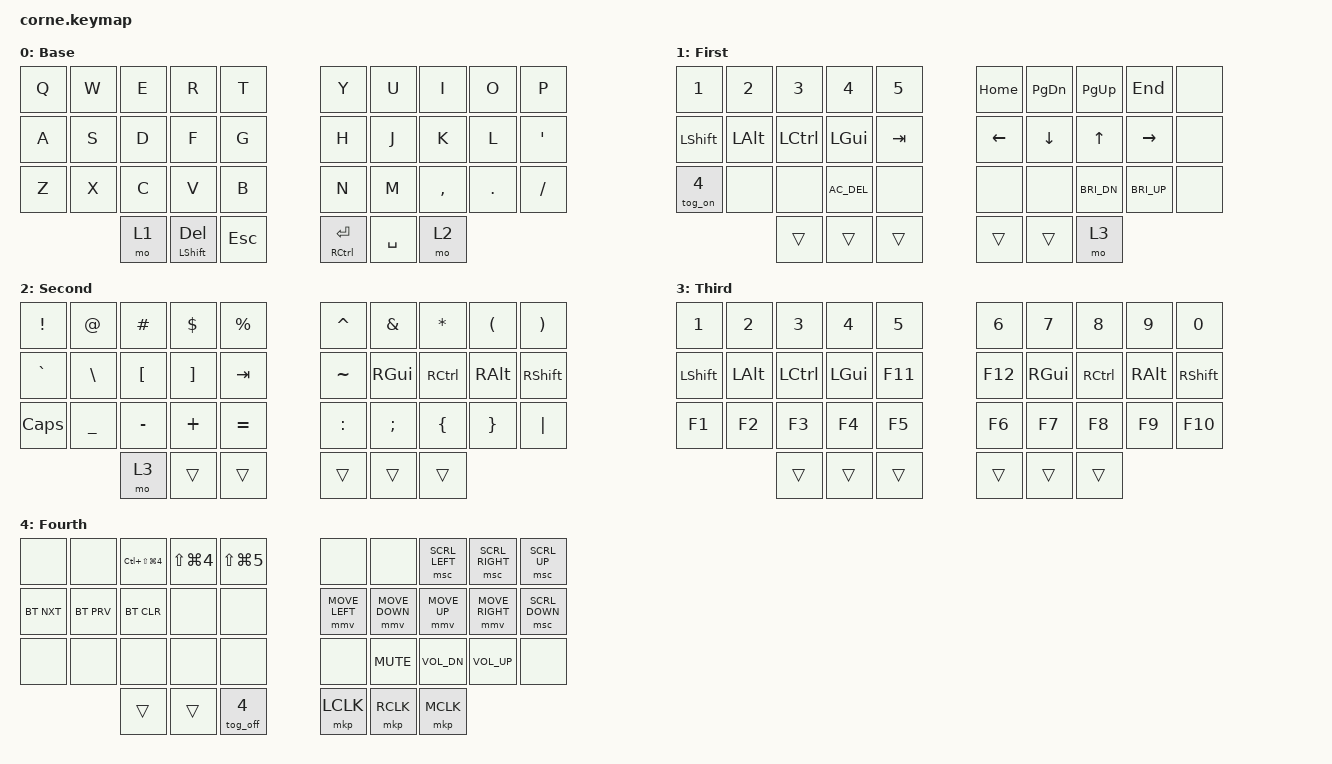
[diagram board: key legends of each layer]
/*
 * Copyright (c) 2020 The ZMK Contributors
 *
 * SPDX-License-Identifier: MIT
 */

#define ZMK_POINTING_DEFAULT_MOVE_VAL 1500  // default: 600
#define ZMK_POINTING_DEFAULT_SCRL_VAL 20    // default: 10

#include <behaviors.dtsi>
#include <dt-bindings/zmk/behaviors.h>
#include <dt-bindings/zmk/keys.h>
#include <dt-bindings/zmk/bt.h>
#include <dt-bindings/zmk/pointing.h>

/ {
    chosen {
        zmk,physical-layout = &foostan_corne_5col_layout;
    };

    behaviors {
        mt: mod_tap {
            compatible = "zmk,behavior-hold-tap";
            #binding-cells = <2>;
            flavor = "hold-preferred";
            tapping-term-ms = <200>;
            bindings = <&kp>, <&kp>;
            display-name = "Mod-Tap";
            quick-tap-ms = <200>;
        };
        tog_on: toggle_layer_on_only {
            compatible = "zmk,behavior-toggle-layer";
            #binding-cells = <1>;
            display-name = "Toggle Layer On";
            toggle-mode = "on";
        };
        tog_off: toggle_layer_off_only {
            compatible = "zmk,behavior-toggle-layer";
            #binding-cells = <1>;
            display-name = "Toggle Layer Off";
            toggle-mode = "off";
        };
    };
        keymap {
                compatible = "zmk,keymap";

                default_layer {
// -----------------------------------------------------------------------------------------
// |  Q  |  W  |  E  |  R  |  T  |     |  Y  |  U   |  I   |  O   | P |
// |  A  |  S  |  D  |  F  |  G  |     |  H  |  J   |  K   |  L   | ' | 
// |  Z  |  X  |  C  |  V  |  B  |     |  N  |  M   | , | . | / |
// | MO(1) | MT(LSHIFT, Backspace) | ESC |     | MT(RCTRL, Enter) | SPACE  | MO(2) |
                        display-name = "Base";
                        bindings = <
   &kp Q  &kp W  &kp E  &kp R  &kp T           &kp Y    &kp U   &kp I       &kp O     &kp P 
   &kp A  &kp S  &kp D  &kp F  &kp G           &kp H    &kp J   &kp K       &kp L     &kp SQT 
   &kp Z  &kp X  &kp C  &kp V  &kp B           &kp N    &kp M   &kp COMMA   &kp DOT    &kp SLASH 
            &mo 1 &mt LSHIFT DEL &kp ESC      &mt RCTRL RET  &kp SPACE   &mo 2
                        >;
                };

                first_layer {
// -----------------------------------------------------------------------------------------
// | 1     |  2  |  3  |  4  |  5  |            |  HOME  |  PageDown  |  PageUp  |  END  |  ToggleUg  |
// | LSHIFT   | LALT | LCTRL | LGUI | TAB |     | LFT | DWN |  UP | RGT |  MODE >  |
// | TL(4) | NONE | NONE | DEL | NONE           | NONE | NONE |  BRIGHT_DOWN | BRIGHT_UP | MODE <  |
// | TRANS | TRANS | TRANS |                    | TRANS | TRANS | MO(3) |
                        display-name = "First";
                        bindings = <
   &kp N1   &kp N2   &kp N3   &kp N4   &kp N5                     &kp HOME  &kp PG_DN   &kp PG_UP  &kp END     &none
   &kp LSHIFT  &kp LALT  &kp LCTRL  &kp LGUI   &kp TAB       &kp LEFT  &kp DOWN    &kp UP     &kp RIGHT   &none
   &tog_on 4 &none  &none  &kp C_AC_DEL   &none                  &none    &none      &kp C_BRI_DN    &kp C_BRI_UP     &none
                         &trans     &trans       &trans        &trans   &trans   &mo 3
                        >;
                };

                second_layer {
// -----------------------------------------------------------------------------------------
// | ! |  @ |  # |  $ |  % |           |  ^ |  & |  * |  (  |  )  |
// | `~ |  \| |  [  |  ] |  TAB  |     |  ~  |  RGUI  | RCTRL| RALT | RSHIFT |
// | CAPS |  _  |  -  |  +  |  =  |     |  :  |  ;  |  {  |  }   |  |  |
// | MO(3) | TRANS | TRANS |                    | TRANS | TRANS | TRANS |
                        display-name = "Second";
                        bindings = <

   &kp EXCL   &kp AT   &kp HASH   &kp DOLLAR   &kp PERCENT           &kp CARET  &kp AMPS   &kp STAR  &kp LPAR   &kp RPAR 
   &kp GRAVE   &kp BACKSLASH   &kp LBKT   &kp RBKT   &kp TAB           &kp TILDE  &kp RGUI   &kp RCTRL  &kp RALT   &kp RSHIFT 
   &kp CAPS   &kp UNDER   &kp MINUS   &kp PLUS   &kp EQUAL           &kp COLON  &kp SEMICOLON   &kp LBRC  &kp RBRC   &kp PIPE 
                         &mo 3     &trans       &trans        &trans   &trans   &trans
                        >;
                };

                third_layer {
// -----------------------------------------------------------------------------------------
// | 1 |  2 |  3 |  4 |  5 |                    |  6 |  7 |  8 |  9  |  0  |
// | LSHIFT   | LALT | LCTRL | LGUI | F11 |     | F12 |  RGUI  | RCTRL| RALT | RSHIFT |
// | F1   | F2 | F3 | F4 | F5 |                 | F6 |  F7  | F8  | F9 | F10 |
// | MO(3) | TRANS | TRANS |                    | TRANS | TRANS | TRANS |
                        display-name = "Third";
                        bindings = <

   &kp N1   &kp N2   &kp N3   &kp N4   &kp N5                &kp N6   &kp N7   &kp N8   &kp N9   &kp N0 
   &kp LSHIFT  &kp LALT  &kp LCTRL  &kp LGUI   &kp F11       &kp F12  &kp RGUI   &kp RCTRL  &kp RALT   &kp RSHIFT 
   &kp F1   &kp F2   &kp F3   &kp F4   &kp F5                &kp F6  &kp F7   &kp F8  &kp F9   &kp F10 
                 &trans   &trans   &trans               &trans   &trans   &trans
                        >;
                };

                fourth_layer {
                        display-name = "Fourth";
                        bindings = <

   &none  &none  &kp LC(LS(LG(N4)))  &kp LS(LG(N4))  &kp LS(LG(N5))      &none  &none     &msc SCRL_LEFT  &msc SCRL_RIGHT   &msc SCRL_UP 
   &bt BT_NXT  &bt BT_PRV  &bt BT_CLR  &none  &none         &mmv MOVE_LEFT  &mmv MOVE_DOWN  &mmv MOVE_UP    &mmv MOVE_RIGHT   &msc SCRL_DOWN 
   &none  &none  &none  &none  &none                                  &none  &kp C_MUTE   &kp C_VOL_DN   &kp C_VOL_UP   &none 
                 &trans   &trans   &tog_off 4               &mkp LCLK   &mkp RCLK   &mkp MCLK
                        >;
                };

        };
};
